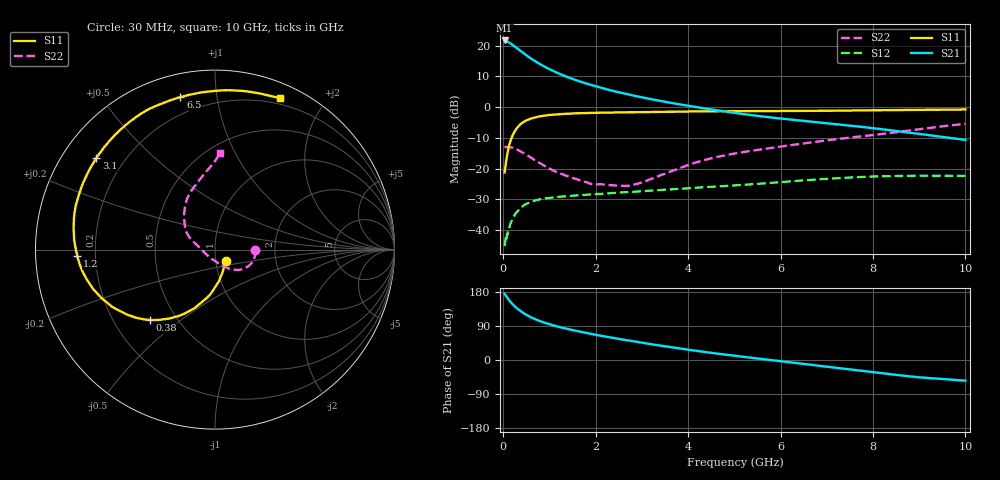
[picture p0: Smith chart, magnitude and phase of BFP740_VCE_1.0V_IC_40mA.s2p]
! Infineon Technologies  Discrete & RF Semiconductors
! BFP740
! VCE =  1.0 V,  IC =  40 mA
! Common Emitter S-Parameters:  Jan 2016
# GHz  S  MA  R  50
!  f  S11  S21  S12  S22
! GHz  MAG  ANG  MAG  ANG  MAG  ANG  MAG  ANG
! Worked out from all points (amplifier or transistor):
!   229 points, 30 MHz to 10 GHz, reference 50 ohm
!   highest |S21| = 21.7 dB at 30 MHz (marker M1)
!   |S21| within 3 dB of that: start of sweep to 338.7 MHz
!   unconditionally stable (mu >= 1): start of sweep to end of sweep
!   at 280 MHz: K = 2.17, MAG = 20.7 dB, |S12| = -34.3 dB
!   at 1.78 GHz: K = 1.89, MAG = 12.7 dB, |S12| = -28.5 dB
!   at 10 GHz: K = 2.84, MAG = -1.6 dB, |S12| = -22.3 dB
!   S11 on the Smith chart (normalised r, x): 30 MHz: 1.12, -0.14; 380 MHz: 0.36, -0.39; 1.2 GHz: 0.13, -0.02; 3.1 GHz: 0.10, +0.34; 6.5 GHz: 0.11, +0.79; 10 GHz: 0.14, +1.51
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0.03  0.087 -46.1  12.17 174.5  0.0055 18.0  0.221 -1.3
0.06  0.1289 -70.1  11.97 168.9  0.0081 31.5  0.2242 -4.2
0.11  0.2093 -89.6  11.49 160.5  0.0096 46.9  0.2257 -9.0
0.15  0.2723 -99.5  10.99 154.4  0.0123 50.2  0.2241 -12.9
0.2  0.3444 -109.1  10.34 147.5  0.0151 47.4  0.2202 -18.3
0.26  0.4179 -118.2  9.555 140.5  0.0183 47.3  0.212 -23.8
0.3  0.4614 -123.6  9.059 136.0  0.0201 45.8  0.2053 -27.6
0.38  0.5323 -132.7  8.155 128.6  0.023 41.8  0.1901 -34.3
0.5  0.6097 -143.6  6.99 119.0  0.0268 37.6  0.1687 -42.3
0.6  0.6551 -150.8  6.195 112.6  0.0288 35.0  0.1515 -47.8
0.7  0.6871 -156.8  5.546 107.1  0.0306 31.7  0.1359 -52.2
0.9  0.7319 -166.5  4.539 98.1  0.0329 27.7  0.1104 -59.8
1.2  0.7689 -177.4  3.534 87.5  0.0349 24.0  0.086 -71.4
1.7  0.8017 169.1  2.559 73.7  0.0373 21.3  0.0627 -89.8
2.3  0.8195 156.6  1.9 59.9  0.0398 19.8  0.054 -120.6
3.1  0.8349 142.3  1.396 43.7  0.0435 18.6  0.0636 -169.1
3.4  0.8406 137.4  1.267 38.1  0.045 18.0  0.078 178.8
5.1  0.8642 115.6  0.79 9.8  0.0541 14.4  0.1819 149.6
6.5  0.8719 102.8  0.598 -10.3  0.0646 8.9  0.2585 131.7
6.8  0.874 99.7  0.568 -14.6  0.0669 7.0  0.2761 127.9
8.4  0.897 80.5  0.42 -37.9  0.0759 -5.8  0.3829 105.4
10  0.9183 66.6  0.294 -54.5  0.0766 -16.3  0.5362 87.1
